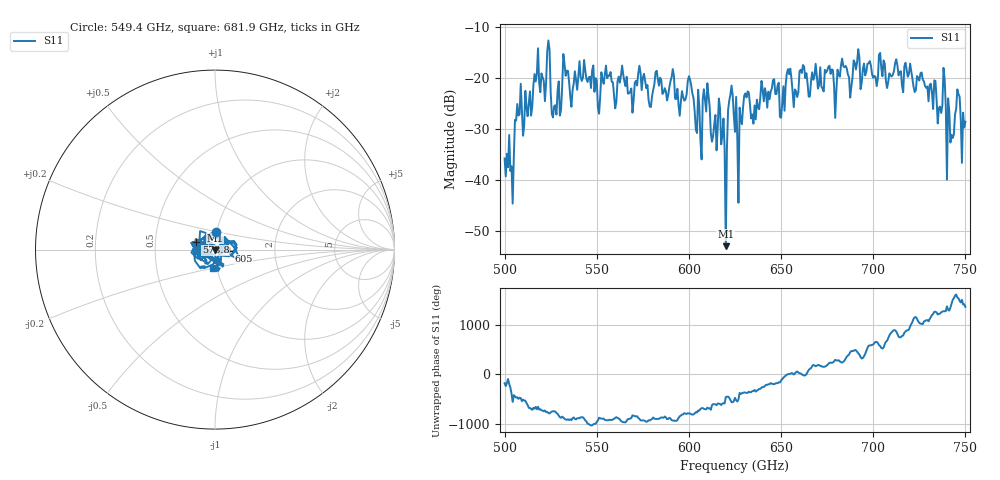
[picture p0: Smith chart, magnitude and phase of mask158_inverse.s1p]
!Created with skrf (http://scikit-rf.org).
# GHz S MA R 50.0
!freq magS11 angS11
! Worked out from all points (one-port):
!   401 points, 500 GHz to 750 GHz, reference 50 ohm
!   lowest |S11| = -53.0 dB at 620 GHz (marker M1), VSWR 1.00, Z = 50 - j0.223 ohm
!   |S11| at or under -10 dB: start of sweep to end of sweep
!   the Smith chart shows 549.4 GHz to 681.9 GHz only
!   S11 on the Smith chart (normalised r, x): 549.4 GHz: 0.99, +0.20; 573.8 GHz: 0.81, +0.07; 605 GHz: 1.17, -0.02; 681.9 GHz: 0.96, -0.20
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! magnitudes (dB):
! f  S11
! 500 GHz  -35.8
! 504.4 GHz  -44.6
! 507.5 GHz  -27.3
! 516.9 GHz  -20.7
! 523.8 GHz  -12.6
! 526.9 GHz  -25.5
! 531.2 GHz  -21.5
! 549.4 GHz  -20.0
! 562.5 GHz  -20.9
! 573.8 GHz  -19.0
! 593.8 GHz  -22.1
! 600.6 GHz  -20.3
! 605 GHz  -22.3
! 609.4 GHz  -26.6
! 620 GHz  -53.0
! 622.5 GHz  -23.3
! 625 GHz  -30.5
! 627.5 GHz  -25.8
! 631.2 GHz  -23.8
! 635 GHz  -29.0
! 656.2 GHz  -22.7
! 681.9 GHz  -19.7
! 687.5 GHz  -23.8
! 718.8 GHz  -19.7
! 738.1 GHz  -18.0
! 741.2 GHz  -26.5
! 745.6 GHz  -22.2
! 750 GHz  -28.6
